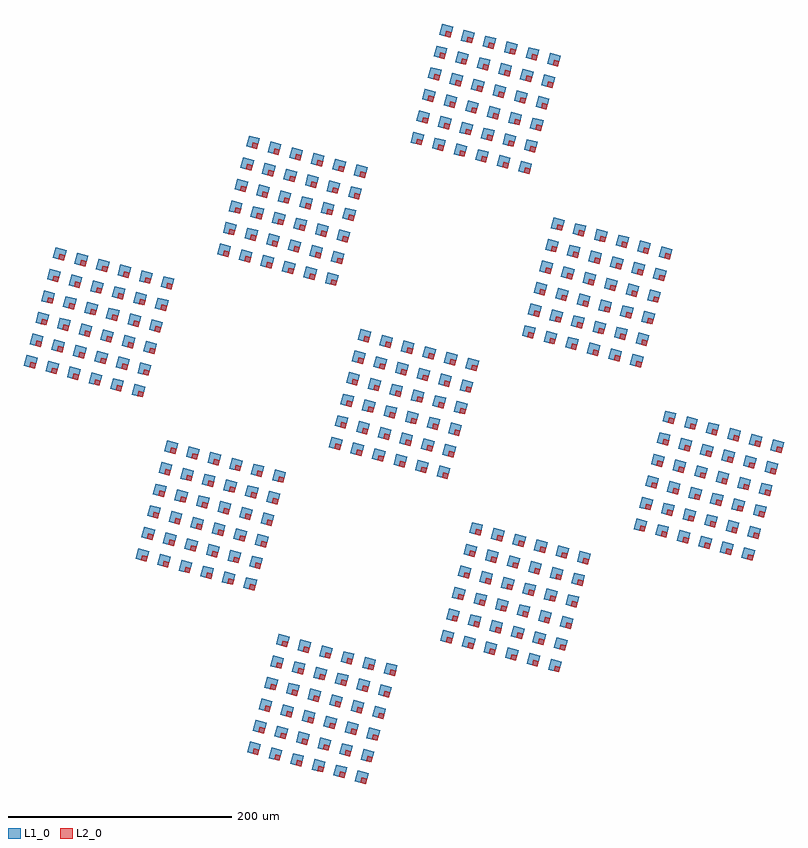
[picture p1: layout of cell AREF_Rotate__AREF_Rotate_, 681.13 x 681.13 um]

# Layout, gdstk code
from math import pi, radians
import gdstk
lib = gdstk.Library(unit=1e-6, precision=1e-09)
def R(c, l, rs):  # rectangles x0, y0, x1, y1
    for r in rs: c.add(gdstk.rectangle(r[:2], r[2:], *l))
L1_0 = (1, 0)
L2_0 = (2, 0)

box = lib.new_cell('box')
R(box, L1_0, [(-5,-5,5,5)])
R(box, L2_0, [(-5,-5,0,0)])

aref_rotate = lib.new_cell('AREF_Rotate')
r = gdstk.Reference(box, (10,10), rotation=radians(45)); r.repetition = gdstk.Repetition(6, 6, v1=(14.1422,14.1422), v2=(-14.1422,14.1422)); aref_rotate.add(r)

aref_rotate__aref_rotate = lib.new_cell('AREF_Rotate__AREF_Rotate_')
r = gdstk.Reference(aref_rotate, (100,100), rotation=radians(30)); r.repetition = gdstk.Repetition(3, 3, v1=(173.205,100), v2=(-100,173.205)); aref_rotate__aref_rotate.add(r)

lib.write_gds('AREF_Rotate__AREF_Rotate_.gds')
